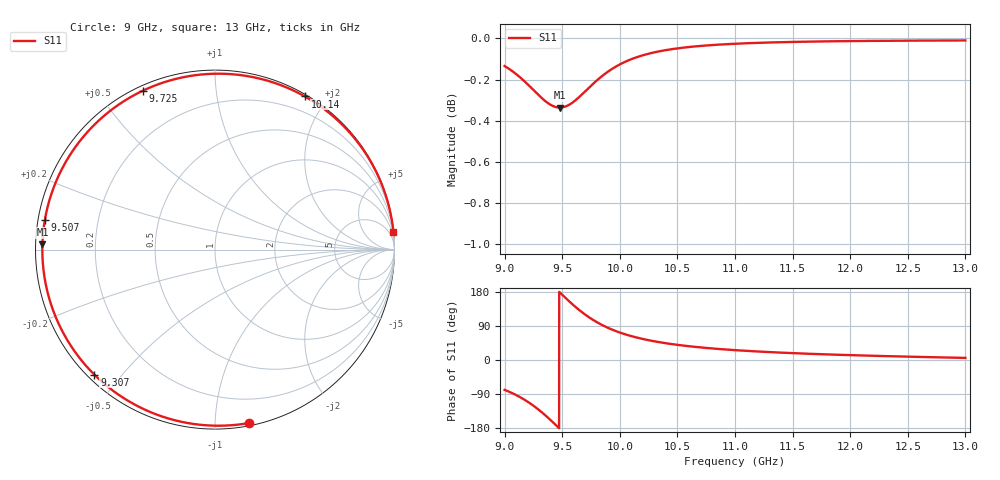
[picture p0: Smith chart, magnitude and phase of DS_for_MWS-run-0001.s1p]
! TOUCHSTONE file generated by CST DESIGN STUDIO
! Date and time: Tue Feb  4 17:44:55 2025
! Project name: C:\Work\MatlabApps\UnitCellOptimizationMatlab\CST\unitcell.cst
! Tree item: Tasks\Sweep1\SPara1\S-Parameters
! Header version: 2024
! Port assignment regex: !\s*Touchstone port\s*([0-9]+)\s*=\s*(CST MWS port|CST DES external port|CST DES block port)\s*(.+)\s* \(\"(.*)\"\)(\s*mode\s*([0-9]+))?.*
! Touchstone port assignment:
! Touchstone port 1 = CST DES external port 1 ("")
# GHz S MA R 50
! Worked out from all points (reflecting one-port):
!   4001 points, 9 GHz to 13 GHz, reference 50 ohm
!   lowest |S11| = -0.3 dB at 9.479 GHz (marker M1), VSWR 51.71, Z = 0.967 + j0.741 ohm
!   phase of S11 starts at -79 deg and turns -276 deg over the sweep
!   S11 on the Smith chart (normalised r, x): 9 GHz: 0.02, -1.22; 9.307 GHz: 0.02, -0.42; 9.507 GHz: 0.02, +0.09; 9.725 GHz: 0.02, +0.65; 10.14 GHz: 0.02, +1.75; 13 GHz: 0, +21
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9  0.9847 -78.8
9.076  0.9814 -88.9
9.174  0.9762 -105.1
9.243  0.972 -119.0
9.307  0.9681 -133.9
9.352  0.9656 -145.6
9.4  0.9635 -158.8
9.44  0.9624 -170.3
9.479  0.9621 178.3
9.5  0.9622 172.2
9.507  0.9622 170.1
9.56  0.9635 155.0
9.62  0.9662 138.8
9.672  0.9692 126.0
9.725  0.9724 114.3
9.78  0.9756 103.5
9.842  0.979 93.0
9.92  0.9826 81.9
10  0.9856 72.5
10.143  0.9895 59.6
10.305  0.9923 49.0
10.5  0.9944 40.0
10.722  0.9959 32.6
11  0.997 26.0
11.5  0.998 18.1
12  0.9985 12.8
12.5  0.9988 8.8
13  0.9989 5.5
